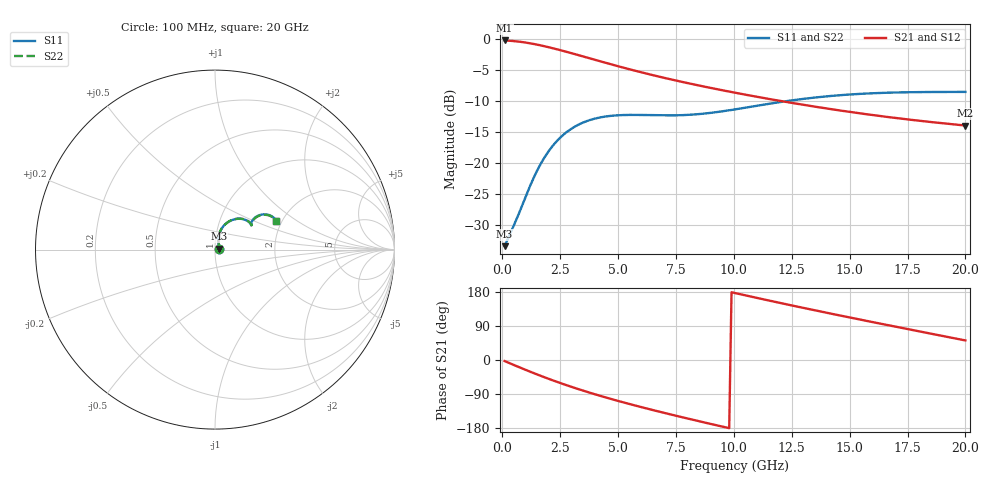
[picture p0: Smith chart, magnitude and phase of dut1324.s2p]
! Touchstone file exported from HFSS 2024.1.0
!  File:  C:/UserFiles/LocalFiles/RDL_TSV_Batchsim/temp_RDL_TSV_1324_1780387924.aedt
!  Generated:  04:29:22 PM Jun  2, 2026
!  Design:  RDL_TSV
!  Project:  temp_RDL_TSV_1324_1780387924
!  Setup:  Setup1
!  Solution:  Sweep
! Variables:
!  dtsv = 10.27um
!  hbump = 3um
!  htsv = 94.79um
!  ldown = 649.93um
!  lrdl = 631.46um
!  p = 40
!  p1 = 53.06um
!  rhole = 10um
!  subl = 4475.63um
!  t = 450um
!  tdown = 3.38um
!  trdl = 4.82um
!  viad = 10um
!  wdown = 21.27um
!  wrdl = 17.77um
!  xbump = 18um
# GHz S MA R 50.000000
! Terminal data exported
! Port[1] = TM1_1_T1
! Port[2] = TM1_4_T1
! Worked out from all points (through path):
!   200 points, 100 MHz to 20 GHz, reference 50 ohm
!   highest |S21| = -0.19 dB at 100 MHz (marker M1); lowest = -13.9 dB at 20 GHz (marker M2)
!   group delay of S21, straight-line fit = 40.5 ps
!   lowest |S11| = -33.4 dB at 100 MHz (marker M3), VSWR 1.04, Z = 52.1 + j0.549 ohm
!   |S11| at or under -10 dB: start of sweep to 12.26 GHz
!   |S22| runs from -33.4 to -8.5 dB; largest |S21 - S12| = 9.9e-15
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0.1  0.02129 14.3  0.9789 -2.7  0.9789 -2.7  0.02129 14.3
! Gamma 0 0 0 0
! Port Impedance 50 0 50 0
0.4  0.02861 40.6  0.9712 -10.6  0.9712 -10.6  0.0286 40.7
0.8  0.04265 62.4  0.9536 -20.9  0.9536 -20.9  0.04265 62.5
1.3  0.07212 74.0  0.9214 -33.3  0.9214 -33.3  0.0722 74.1
1.8  0.1092 73.9  0.8811 -45.1  0.8811 -45.1  0.1094 74.0
2.2  0.1393 70.1  0.8455 -54.1  0.8455 -54.1  0.1396 70.2
2.6  0.1668 65.2  0.8086 -62.8  0.8086 -62.8  0.1672 65.3
3  0.1902 60.0  0.7715 -71.1  0.7715 -71.1  0.1908 60.0
3.5  0.2129 53.7  0.7262 -81.0  0.7262 -81.0  0.2138 53.8
4.3  0.2351 45.2  0.6587 -95.9  0.6587 -95.9  0.2362 45.2
5.1  0.2438 39.0  0.599 -109.7  0.599 -109.7  0.2452 39.0
5.9  0.2447 35.4  0.5473 -122.7  0.5473 -122.7  0.2463 35.3
6.8  0.243 33.9  0.4977 -136.6  0.4977 -136.6  0.2446 33.7
7.5  0.243 34.2  0.4643 -147.1  0.4643 -147.1  0.2445 33.9
8.3  0.247 35.5  0.4308 -158.7  0.4308 -158.7  0.2482 35.1
10.1  0.2724 38.4  0.3687 176.0  0.3687 176.0  0.2727 37.9
11.7  0.3049 38.2  0.3251 154.5  0.3251 154.5  0.3044 37.8
13.4  0.3368 35.7  0.2876 132.4  0.2876 132.4  0.3355 35.3
15  0.358 32.5  0.2591 112.3  0.2591 112.3  0.3564 32.2
16.7  0.3705 29.2  0.2349 91.4  0.2349 91.4  0.3686 29.0
18.4  0.375 26.7  0.2157 70.8  0.2157 70.8  0.373 26.6
20  0.3757 25.4  0.2011 51.6  0.2011 51.6  0.3737 25.3
